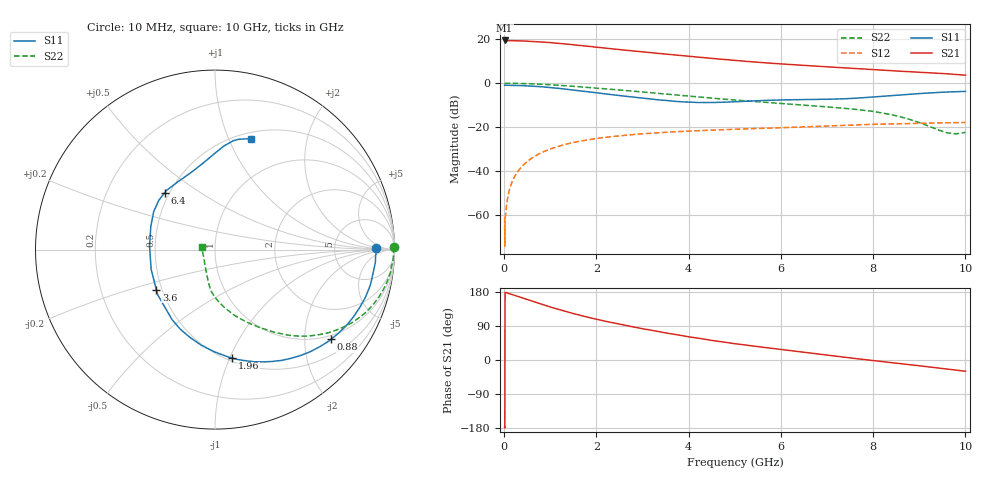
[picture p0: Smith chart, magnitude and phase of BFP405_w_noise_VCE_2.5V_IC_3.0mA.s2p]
! Infineon Technologies  Discrete & RF Semiconductors
! BFP405
! VCE =  2.5 V,  IC =  3.0 mA
! Common Emitter S-Parameters:  Jan 2016
# GHz  S  MA  R  50
!  f  S11  S21  S12  S22
! GHz  MAG  ANG  MAG  ANG  MAG  ANG  MAG  ANG
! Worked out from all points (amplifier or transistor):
!   233 points, 10 MHz to 10 GHz, reference 50 ohm
!   highest |S21| = 19.4 dB at 10 MHz (marker M1)
!   |S21| within 3 dB of that: start of sweep to 1.981 GHz
!   unconditionally stable (mu >= 1): 14.06 MHz to 15.5 MHz; 3.998 GHz to end of sweep
!   at 200 MHz: K = 0.06, MSG = 31.4 dB, |S12| = -43.5 dB
!   at 1.74 GHz: K = 0.40, MSG = 21.4 dB, |S12| = -26.0 dB
!   at 10 GHz: K = 1.56, MAG = 6.3 dB, |S12| = -17.8 dB
!   lowest NFmin = 0.98 dB at 900 MHz
!   S11 on the Smith chart (normalised r, x): 10 MHz: 19, +1; 880 MHz: 0.89, -2.67; 1.96 GHz: 0.53, -1.02; 3.6 GHz: 0.47, -0.25; 6.4 GHz: 0.47, +0.37; 10 GHz: 0.57, +1.21
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0.01  0.8984 0.4  9.307 -177.5  0.0009 -55.1  0.997 0.7
0.015  0.8982 -0.2  9.266 -179.4  0.0002 7.3  0.9949 0.3
0.02  0.898 -0.8  9.235 178.6  0.0008 101.9  0.9928 -0.1
0.045  0.8957 -2.0  9.185 178.1  0.0015 82.8  0.9945 -0.7
0.105  0.8964 -4.5  9.219 175.2  0.0035 87.8  0.995 -2.2
0.19  0.8904 -8.3  9.179 172.0  0.0064 85.3  0.9924 -4.2
0.5  0.8691 -21.6  9.003 159.4  0.0167 79.1  0.9747 -10.8
0.88  0.8172 -37.7  8.513 144.4  0.0285 71.0  0.9363 -18.6
1.28  0.7434 -54.1  7.836 129.9  0.0397 63.0  0.8815 -26.1
1.68  0.6649 -70.0  7.12 116.9  0.049 55.9  0.8205 -32.6
1.96  0.6122 -81.0  6.624 108.7  0.0547 51.4  0.7781 -36.7
2.62  0.5065 -106.5  5.611 91.5  0.0657 42.7  0.6826 -44.9
3  0.4577 -121.5  5.131 82.5  0.071 38.2  0.6305 -49.2
3.4  0.4123 -137.4  4.674 73.9  0.0757 33.9  0.5775 -53.3
3.6  0.3957 -145.7  4.468 69.6  0.0778 31.9  0.5527 -55.4
4.5  0.3653 176.8  3.655 51.7  0.0861 24.2  0.4561 -64.7
5.1  0.3829 157.8  3.218 41.6  0.0906 19.9  0.4068 -70.4
6.4  0.4233 131.3  2.573 21.9  0.1009 12.5  0.324 -81.1
6.8  0.4271 123.0  2.418 15.9  0.1046 10.2  0.3008 -84.4
8.4  0.5227 92.0  1.915 -7.0  0.1191 -1.0  0.1919 -100.5
9.6  0.6287 77.9  1.632 -23.9  0.1262 -9.1  0.0748 -148.6
10  0.6507 71.9  1.515 -29.6  0.1281 -11.4  0.0764 169.6
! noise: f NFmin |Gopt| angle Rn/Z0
0.9  0.98  0.49  14  0.37
1.8  1.3  0.39  24  0.34
2.4  1.48  0.33  33  0.33
3  1.51  0.31  50  0.31
4  1.71  0.19  75  0.25
5  2.06  0.14  114  0.21
